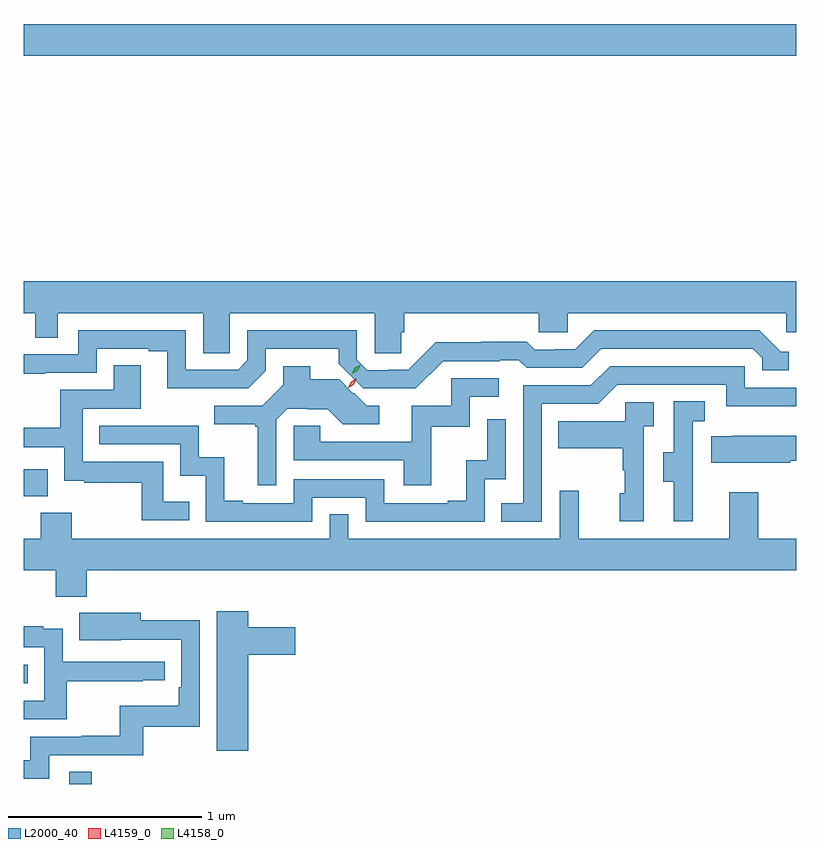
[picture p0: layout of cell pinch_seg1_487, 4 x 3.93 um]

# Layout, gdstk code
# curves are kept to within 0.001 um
import gdstk
lib = gdstk.Library(unit=1e-6, precision=1e-09)
def R(c, l, rs):  # rectangles x0, y0, x1, y1
    for r in rs: c.add(gdstk.rectangle(r[:2], r[2:], *l))
def P(c, l, *ps):  # polygons
    for p in ps: c.add(gdstk.Polygon(p, *l))
L2000_40 = (2000, 40)
L4158_0 = (4158, 0)
L4159_0 = (4159, 0)

pinch_seg1_487 = lib.new_cell('pinch_seg1_487')
R(pinch_seg1_487, L2000_40, [(1082.979,535.975,1083.095,536.039), (1082.742,536.496,1082.765,536.592), (1082.742,537.464,1082.867,537.604), (1082.742,539.744,1086.742,539.908)])
P(pinch_seg1_487, L2000_40, [(1082.742,538.412),(1082.803,538.412),(1082.803,538.285),(1082.919,538.285),(1082.919,538.412),(1083.671,538.412),(1083.671,538.204),(1083.81,538.204),(1083.81,538.412),(1084.559,538.412),(1084.559,538.204),(1084.697,538.204),(1084.697,538.314),(1084.712,538.314),(1084.712,538.412),(1085.409,538.412),(1085.409,538.314),(1085.559,538.314),(1085.559,538.412),(1086.69,538.412),(1086.69,538.314),(1086.742,538.314),(1086.742,538.576),(1082.742,538.576)],
  [(1083.69,538.023),(1083.906,538.023),(1083.996,538.113),(1083.996,538.227),(1084.373,538.227),(1084.373,538.149),(1084.499,538.023),(1084.773,538.023),(1084.914,538.164),(1085.207,538.164),(1085.207,538.167),(1085.306,538.167),(1085.345,538.128),(1085.634,538.128),(1085.733,538.227),(1086.516,538.227),(1086.564,538.179),(1086.564,538.116),(1086.703,538.116),(1086.703,538.212),(1086.66,538.212),(1086.549,538.323),(1085.696,538.323),(1085.597,538.224),(1085.49,538.224),(1085.49,538.221),(1085.387,538.221),(1085.345,538.264),(1085.112,538.264),(1085.112,538.261),(1084.876,538.261),(1084.734,538.119),(1084.629,538.119),(1084.629,538.116),(1084.522,538.116),(1084.467,538.171),(1084.467,538.323),(1083.9,538.323),(1083.9,538.167),(1083.852,538.119),(1083.582,538.119),(1083.582,538.323),(1083.024,538.323),(1083.024,538.2),(1082.742,538.2),(1082.742,538.099),(1082.855,538.099),(1082.855,538.104),(1083.12,538.104),(1083.12,538.227),(1083.389,538.227),(1083.389,538.215),(1083.485,538.215),(1083.485,538.022)],
  [(1083.599,537.436),(1083.465,537.436),(1083.465,537.642),(1083.048,537.642),(1083.048,537.918),(1083.349,537.918),(1083.349,538.142),(1083.209,538.142),(1083.209,538.014),(1082.932,538.014),(1082.932,537.818),(1082.742,537.818),(1082.742,537.717),(1082.952,537.717),(1082.952,537.545),(1083.055,537.545),(1083.055,537.534),(1083.354,537.534),(1083.354,537.339),(1083.599,537.339)],
  [(1084.05,537.861),(1084.107,537.918),(1084.209,537.918),(1084.209,537.914),(1084.317,537.914),(1084.394,537.837),(1084.582,537.837),(1084.582,537.933),(1084.519,537.933),(1084.451,538.001),(1084.447,537.997),(1084.375,538.069),(1084.225,538.069),(1084.225,538.138),(1084.085,538.138),(1084.085,538.04),(1083.978,537.933),(1083.729,537.933),(1083.729,537.836),(1083.942,537.836),(1083.942,537.825),(1083.953,537.825),(1083.953,537.522),(1084.05,537.522)],
  [(1085.424,537.942),(1085.715,537.942),(1085.814,538.041),(1086.378,538.041),(1086.378,537.929),(1086.742,537.929),(1086.742,538.026),(1086.474,538.026),(1086.474,538.137),(1085.777,538.137),(1085.678,538.038),(1085.328,538.038),(1085.328,537.429),(1085.215,537.429),(1085.215,537.333),(1085.424,537.333)],
  [(1084.853,537.825),(1085.052,537.825),(1085.052,537.978),(1085.2,537.978),(1085.2,538.074),(1084.956,538.074),(1084.956,537.933),(1084.751,537.933),(1084.751,537.747),(1084.277,537.747),(1084.277,537.829),(1084.14,537.829),(1084.14,537.651),(1084.709,537.651),(1084.709,537.522),(1084.853,537.522)],
  [(1086.206,537.549),(1086.204,537.549),(1086.204,537.853),(1086.268,537.853),(1086.268,537.956),(1086.108,537.956),(1086.108,537.693),(1086.053,537.693),(1086.053,537.538),(1086.107,537.538),(1086.107,537.336),(1086.206,537.336)],
  [(1085.952,537.827),(1086.004,537.827),(1086.004,537.951),(1085.856,537.951),(1085.856,537.853),(1085.509,537.853),(1085.509,537.713),(1085.844,537.713),(1085.844,537.599),(1085.854,537.599),(1085.854,537.48),(1085.828,537.48),(1085.828,537.336),(1085.952,537.336)],
  [(1084.236,537.456),(1084.512,537.456),(1084.512,537.333),(1085.13,537.333),(1085.13,537.552),(1085.238,537.552),(1085.238,537.862),(1085.142,537.862),(1085.142,537.65),(1085.033,537.65),(1085.033,537.442),(1084.937,537.442),(1084.937,537.429),(1084.608,537.429),(1084.608,537.552),(1084.14,537.552),(1084.14,537.429),(1083.877,537.429),(1083.877,537.442),(1083.781,537.442),(1083.781,537.667),(1083.648,537.667),(1083.648,537.828),(1083.133,537.828),(1083.133,537.732),(1083.552,537.732),(1083.552,537.569),(1083.684,537.569),(1083.684,537.333),(1084.236,537.333)],
  [(1086.711,537.649),(1086.742,537.649),(1086.742,537.778),(1086.409,537.778),(1086.409,537.775),(1086.301,537.775),(1086.301,537.638),(1086.711,537.638)],
  [(1083.068,537.08),(1086.742,537.08),(1086.742,537.244),(1086.543,537.244),(1086.543,537.484),(1086.395,537.484),(1086.395,537.244),(1085.615,537.244),(1085.615,537.493),(1085.517,537.493),(1085.517,537.244),(1084.422,537.244),(1084.422,537.371),(1084.326,537.371),(1084.326,537.244),(1082.991,537.244),(1082.991,537.379),(1082.831,537.379),(1082.831,537.244),(1082.742,537.244),(1082.742,537.08),(1082.908,537.08),(1082.908,536.945),(1083.068,536.945)],
  [(1083.904,536.645),(1084.147,536.645),(1084.147,536.787),(1083.904,536.787),(1083.904,536.869),(1083.743,536.869),(1083.743,536.148),(1083.904,536.148)],
  [(1082.874,536.124),(1083.361,536.124),(1083.361,536.271),(1083.654,536.271),(1083.654,536.822),(1083.349,536.822),(1083.349,536.86),(1083.031,536.86),(1083.031,536.72),(1083.245,536.72),(1083.245,536.721),(1083.558,536.721),(1083.558,536.476),(1083.545,536.476),(1083.545,536.38),(1083.24,536.38),(1083.24,536.225),(1083.043,536.225),(1083.043,536.22),(1082.778,536.22),(1082.778,536.097),(1082.742,536.097),(1082.742,536.001),(1082.874,536.001)],
  [(1082.966,536.506),(1083.359,536.506),(1083.359,536.511),(1083.472,536.511),(1083.472,536.607),(1082.946,536.607),(1082.946,536.779),(1082.843,536.779),(1082.843,536.791),(1082.742,536.791),(1082.742,536.682),(1082.85,536.682),(1082.85,536.406),(1082.742,536.406),(1082.742,536.31),(1082.966,536.31)])
P(pinch_seg1_487, L4158_0, [(1084.441,538.098),(1084.441,538.098),(1084.457,538.128),(1084.487,538.144),(1084.487,538.144),(1084.487,538.144),(1084.471,538.114),(1084.441,538.098)])
P(pinch_seg1_487, L4159_0, [(1084.42,538.022),(1084.42,538.022),(1084.435,538.055),(1084.464,538.075),(1084.465,538.075),(1084.465,538.075),(1084.45,538.042),(1084.42,538.022)])

lib.write_gds('pinch_seg1_487.gds')
